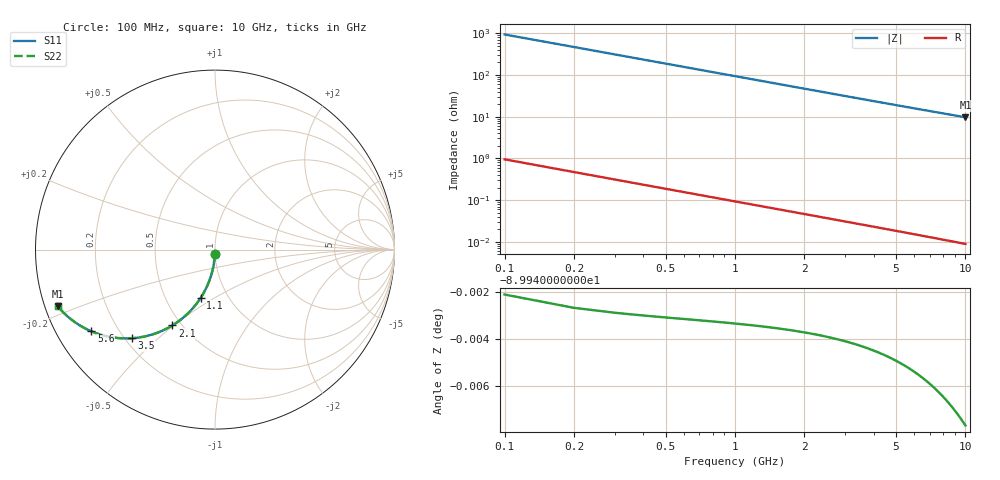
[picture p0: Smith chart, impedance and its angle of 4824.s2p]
# Hz S RI R 50.00
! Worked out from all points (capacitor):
!   100 points, 100 MHz to 10 GHz, reference 50 ohm
!   read as one part in shunt: C = 1.7 pF near 100 MHz
!   lowest |Z| = 9.7 ohm at 10 GHz (marker M1)
!   S11 on the Smith chart (normalised r, x): 100 MHz: 1.00, -0.05; 1.1 GHz: 0.75, -0.43; 2.1 GHz: 0.45, -0.49; 3.5 GHz: 0.23, -0.41; 5.6 GHz: 0.10, -0.30; 10 GHz: 0.04, -0.17
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1e8  -0.000708 -0.0265  0.9992 -0.0267  0.9992 -0.0267  -0.000708 -0.0265
2e8  -0.00286 -0.0529  0.9971 -0.0534  0.9971 -0.0534  -0.00286 -0.0529
3e8  -0.0064 -0.079  0.9935 -0.0798  0.9935 -0.0798  -0.0064 -0.079
4e8  -0.0113 -0.1048  0.9886 -0.1058  0.9886 -0.1058  -0.0113 -0.1048
5e8  -0.0175 -0.1302  0.9824 -0.1314  0.9824 -0.1314  -0.0175 -0.1302
6e8  -0.025 -0.155  0.9749 -0.1565  0.9749 -0.1565  -0.025 -0.155
7e8  -0.0337 -0.1792  0.9662 -0.181  0.9662 -0.181  -0.0337 -0.1792
9e8  -0.0545 -0.2254  0.9454 -0.2277  0.9454 -0.2277  -0.0545 -0.2254
1.1e9  -0.0792 -0.2682  0.9207 -0.271  0.9207 -0.271  -0.0792 -0.2682
1.4e9  -0.1222 -0.3253  0.8777 -0.3288  0.8777 -0.3288  -0.1222 -0.3253
1.8e9  -0.1869 -0.3871  0.813 -0.3916  0.813 -0.3916  -0.1869 -0.3871
2.1e9  -0.2382 -0.4228  0.7618 -0.4281  0.7618 -0.4281  -0.2382 -0.4228
2.7e9  -0.3404 -0.47  0.6595 -0.4768  0.6595 -0.4768  -0.3404 -0.47
3.4e9  -0.4498 -0.4927  0.5501 -0.5013  0.5501 -0.5013  -0.4498 -0.4927
3.5e9  -0.4641 -0.4938  0.5358 -0.5026  0.5358 -0.5026  -0.4641 -0.4938
4.3e9  -0.5663 -0.4896  0.4335 -0.5005  0.4335 -0.5005  -0.5663 -0.4896
5.1e9  -0.6474 -0.4708  0.3525 -0.4838  0.3525 -0.4838  -0.6474 -0.4708
5.6e9  -0.6888 -0.4553  0.3111 -0.4696  0.3111 -0.4696  -0.6888 -0.4553
6.7e9  -0.76 -0.4179  0.2397 -0.4351  0.2397 -0.4351  -0.76 -0.4179
7.5e9  -0.7988 -0.3906  0.2009 -0.41  0.2009 -0.41  -0.7988 -0.3906
8.4e9  -0.8329 -0.3615  0.1668 -0.3833  0.1668 -0.3833  -0.8329 -0.3615
1e10  -0.8763 -0.3154  0.1233 -0.3416  0.1233 -0.3416  -0.8763 -0.3154
